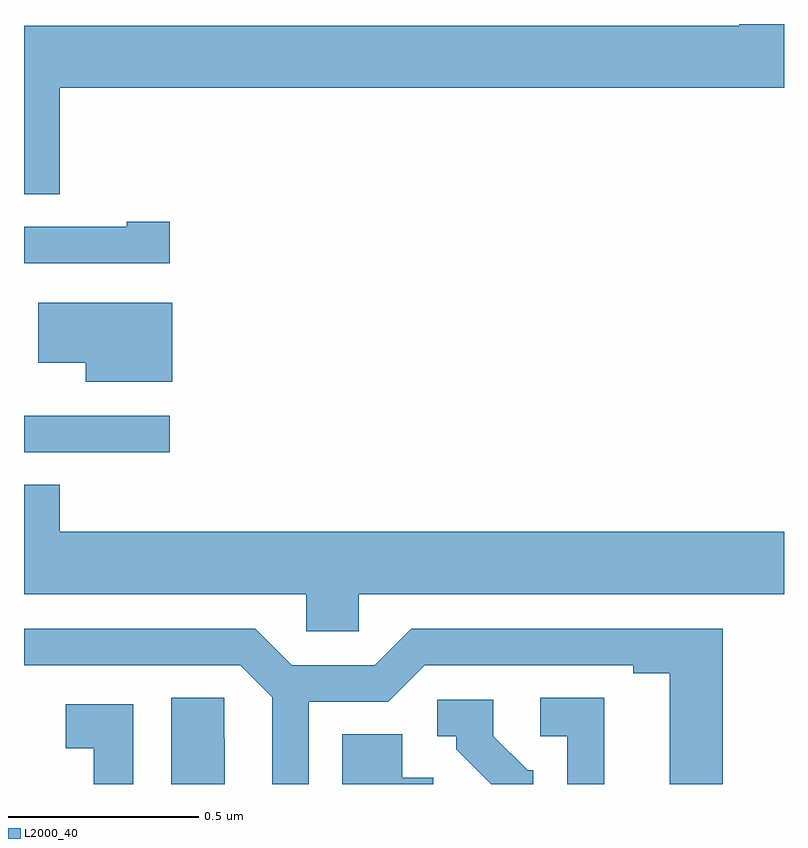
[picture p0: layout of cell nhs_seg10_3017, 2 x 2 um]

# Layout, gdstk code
import gdstk
lib = gdstk.Library(unit=1e-6, precision=1e-09)
def R(c, l, rs):  # rectangles x0, y0, x1, y1
    for r in rs: c.add(gdstk.rectangle(r[:2], r[2:], *l))
def P(c, l, *ps):  # polygons
    for p in ps: c.add(gdstk.Polygon(p, *l))
L2000_40 = (2000, 40)

nhs_seg10_3017 = lib.new_cell('nhs_seg10_3017')
R(nhs_seg10_3017, L2000_40, [(148,1283.373,148.384,1283.469)])
P(nhs_seg10_3017, L2000_40, [(148.094,1284.332),(150,1284.332),(150,1284.5),(149.882,1284.5),(149.882,1284.496),(148,1284.496),(148,1284.052),(148.094,1284.052)],
  [(148.384,1283.98),(148.271,1283.98),(148.271,1283.967),(148,1283.967),(148,1283.871),(148.384,1283.871)],
  [(148.39,1283.767),(148.038,1283.767),(148.038,1283.609),(148.163,1283.609),(148.163,1283.558),(148.39,1283.558)],
  [(148.881,1283),(150,1283),(150,1283.164),(148.094,1283.164),(148.094,1283.288),(148,1283.288),(148,1283),(148.743,1283),(148.743,1282.902),(148.881,1282.902)],
  [(148.749,1282.716),(148.959,1282.716),(149.055,1282.812),(149.603,1282.812),(149.603,1282.792),(149.699,1282.792),(149.699,1282.5),(149.839,1282.5),(149.839,1282.908),(149.019,1282.908),(148.923,1282.812),(148.705,1282.812),(148.609,1282.908),(148,1282.908),(148,1282.812),(148.569,1282.812),(148.653,1282.728),(148.653,1282.5),(148.749,1282.5)],
  [(148.528,1282.619),(148.527,1282.619),(148.527,1282.727),(148.388,1282.727),(148.388,1282.5),(148.528,1282.5)],
  [(149.527,1282.727),(149.358,1282.727),(149.358,1282.626),(149.43,1282.626),(149.43,1282.5),(149.527,1282.5)],
  [(149.34,1282.536),(149.325,1282.536),(149.235,1282.626),(149.235,1282.722),(149.088,1282.722),(149.088,1282.626),(149.138,1282.626),(149.138,1282.591),(149.229,1282.5),(149.34,1282.5)],
  [(148.288,1282.71),(148.11,1282.71),(148.11,1282.594),(148.184,1282.594),(148.184,1282.5),(148.288,1282.5)],
  [(149.077,1282.516),(148.996,1282.516),(148.996,1282.631),(148.838,1282.631),(148.838,1282.5),(149.077,1282.5)])

lib.write_gds('nhs_seg10_3017.gds')
